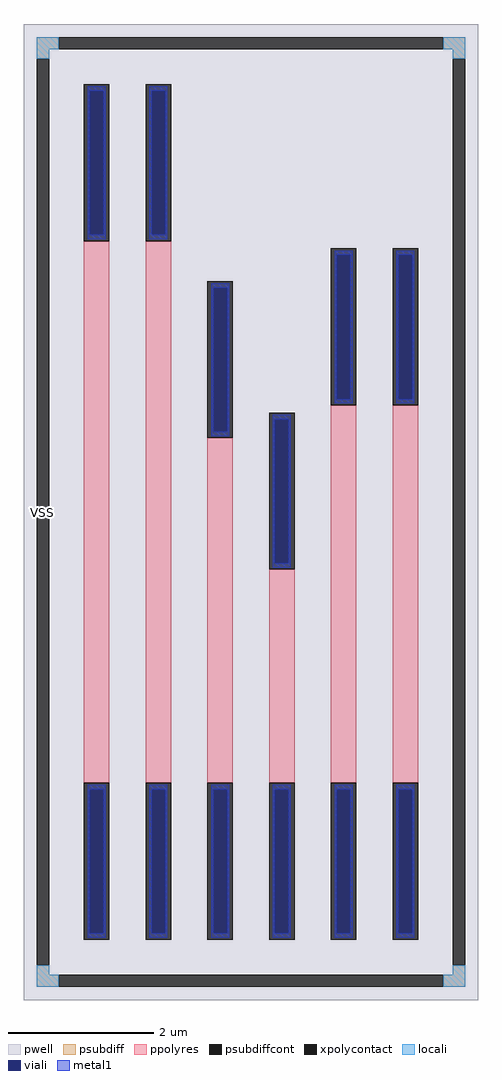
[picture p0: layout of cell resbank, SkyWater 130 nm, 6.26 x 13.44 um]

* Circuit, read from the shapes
.subckt resbank VSS
XR1 Rdum1/R1 Rdum1/R2 VSS sky130_fd_pr__res_high_po w=0.35 l=7.46
XR2 R4/R1 R4/R2 VSS sky130_fd_pr__res_high_po w=0.35 l=7.46
XR3 R2/R1 R2/R2 VSS sky130_fd_pr__res_high_po w=0.35 l=4.75
XR4 R3/R1 R3/R2 VSS sky130_fd_pr__res_high_po w=0.35 l=2.94
XR5 R1/R1 R1/R2 VSS sky130_fd_pr__res_high_po w=0.35 l=5.2
XR6 Rdum2/R1 Rdum2/R2 VSS sky130_fd_pr__res_high_po w=0.35 l=5.2
.ends

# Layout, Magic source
magic
tech sky130A
magscale 1 2
<< pwell >>
rect -801 -1344 451 1344
<< psubdiff >>
rect -765 1274 -705 1308
rect 355 1274 415 1308
rect -765 1248 -731 1274
rect -765 -1274 -731 -1248
rect 381 1248 415 1274
rect 381 -1274 415 -1248
rect -765 -1308 -705 -1274
rect 355 -1308 415 -1274
<< psubdiffcont >>
rect -705 1274 355 1308
rect -765 -1248 -731 1248
rect 381 -1248 415 1248
rect -705 -1308 355 -1274
<< locali >>
rect -765 1274 -705 1308
rect 355 1274 415 1308
rect -765 1248 -731 1274
rect -765 -1274 -731 -1248
rect 381 1248 415 1274
rect 381 -1274 415 -1248
rect -765 -1308 -705 -1274
rect 355 -1308 415 -1274
use sky130_fd_pr__res_high_po_0p35_G6NFUH  R1
transform 1 0 80 0 1 -226
box -35 -952 35 952
use sky130_fd_pr__res_high_po_0p35_GQTRPE  R2
transform 1 0 -260 0 1 -271
box -35 -907 35 907
use sky130_fd_pr__res_high_po_0p35_VNWR4D  R3
transform 1 0 -90 0 1 -452
box -35 -726 35 726
use sky130_fd_pr__res_high_po_0p35_CDD7FB  R4
transform 1 0 -430 0 1 0
box -35 -1178 35 1178
use sky130_fd_pr__res_high_po_0p35_CDD7FB  Rdum1
transform 1 0 -600 0 1 0
box -35 -1178 35 1178
use sky130_fd_pr__res_high_po_0p35_G6NFUH  Rdum2
transform 1 0 250 0 1 -226
box -35 -952 35 952
<< labels >>
rlabel psubdiffcont -765 -20 -731 20 0 VSS
<< end >>

# cell sky130_fd_pr__res_high_po_0p35_G6NFUH: kit device sky130_fd_pr__res_high_po_0p35, w 0.35 l 5.36 m 1 nx 1 wmin 0.350 lmin 0.50 class resistor rho 319.8 val 6.01k dummy 0 dw 0.0 term 194.82 sterm 0.0 caplen 0 guard 0 glc 1 grc 1 gtc 1 gbc 1 compatible {sky130_fd_pr__res_high_po_0p35 sky130_fd_pr__res_high_po_0p69 sky130_fd_pr__res_high_po_1p41 sky130_fd_pr__res_high_po_2p85 sky130_fd_pr__res_high_po_5p73} snake 0 full_metal 1 wmax 0.350 vias 1 n_guard 0 hv_guard 0 viagb 0 viagt 0 viagl 0 viagr 0 doports 1

# cell sky130_fd_pr__res_high_po_0p35_GQTRPE: kit device sky130_fd_pr__res_high_po_0p35, w 0.35 l 4.91 m 1 nx 1 wmin 0.350 lmin 0.50 class resistor rho 319.8 val 5.599k dummy 0 dw 0.0 term 194.82 sterm 0.0 caplen 0 guard 0 glc 1 grc 1 gtc 1 gbc 1 compatible {sky130_fd_pr__res_high_po_0p35 sky130_fd_pr__res_high_po_0p69 sky130_fd_pr__res_high_po_1p41 sky130_fd_pr__res_high_po_2p85 sky130_fd_pr__res_high_po_5p73} snake 0 full_metal 1 wmax 0.350 vias 1 n_guard 0 hv_guard 0 viagb 0 viagt 0 viagl 0 viagr 0 doports 1

# cell sky130_fd_pr__res_high_po_0p35_VNWR4D: kit device sky130_fd_pr__res_high_po_0p35, w 0.35 l 3.10 m 1 nx 1 wmin 0.350 lmin 0.50 class resistor rho 319.8 val 3.945k dummy 0 dw 0.0 term 194.82 sterm 0.0 caplen 0 guard 0 glc 1 grc 1 gtc 1 gbc 1 compatible {sky130_fd_pr__res_high_po_0p35 sky130_fd_pr__res_high_po_0p69 sky130_fd_pr__res_high_po_1p41 sky130_fd_pr__res_high_po_2p85 sky130_fd_pr__res_high_po_5p73} snake 0 full_metal 1 wmax 0.350 vias 1 n_guard 0 hv_guard 0 viagb 0 viagt 0 viagl 0 viagr 0 doports 1

# cell sky130_fd_pr__res_high_po_0p35_CDD7FB: kit device sky130_fd_pr__res_high_po_0p35, w 0.35 l 7.62 m 1 nx 1 wmin 0.350 lmin 0.50 class resistor rho 319.8 val 8.075k dummy 0 dw 0.0 term 194.82 sterm 0.0 caplen 0 guard 0 glc 1 grc 1 gtc 1 gbc 1 compatible {sky130_fd_pr__res_high_po_0p35 sky130_fd_pr__res_high_po_0p69 sky130_fd_pr__res_high_po_1p41 sky130_fd_pr__res_high_po_2p85 sky130_fd_pr__res_high_po_5p73} snake 0 full_metal 1 wmax 0.350 vias 1 n_guard 0 hv_guard 0 viagb 0 viagt 0 viagl 0 viagr 0 doports 1
